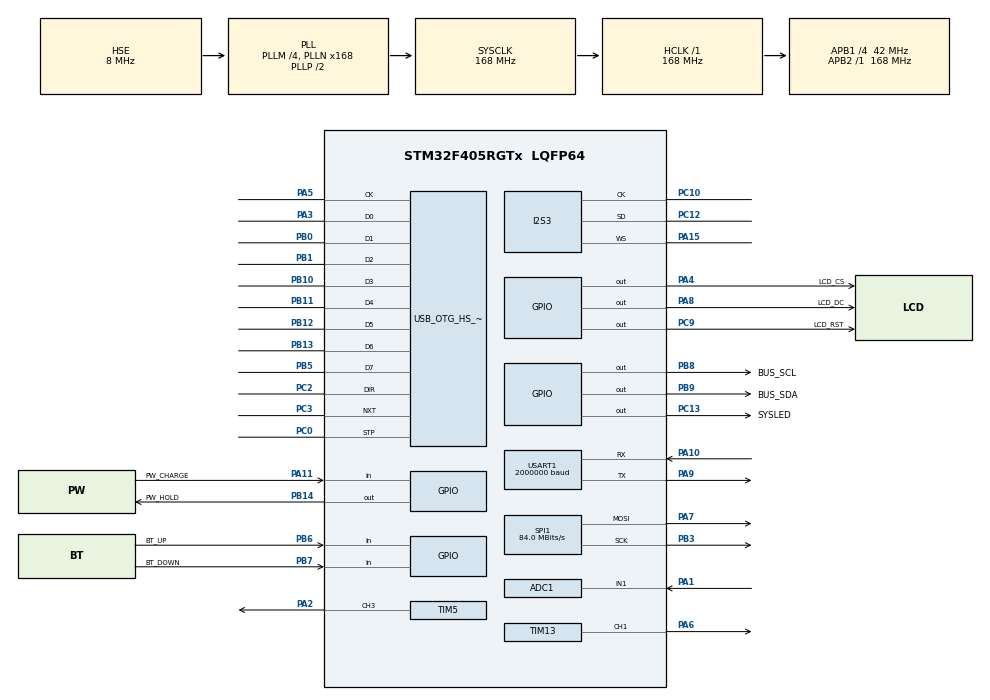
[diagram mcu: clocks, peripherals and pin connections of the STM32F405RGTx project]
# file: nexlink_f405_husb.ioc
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ADC1.Channel-0\#ChannelRegularConversion=ADC_CHANNEL_1
ADC1.ExternalTrigConv=ADC_SOFTWARE_START
ADC1.NbrOfConversionFlag=1
ADC1.Rank-0\#ChannelRegularConversion=1
ADC1.SamplingTime-0\#ChannelRegularConversion=ADC_SAMPLETIME_3CYCLES
ADC1.master=1
Dma.Request0=SPI1_TX
Dma.Request1=SPI3_RX
Dma.SPI1_TX.0.Direction=DMA_MEMORY_TO_PERIPH
Dma.SPI1_TX.0.FIFOMode=DMA_FIFOMODE_DISABLE
Dma.SPI1_TX.0.Instance=DMA2_Stream3
Dma.SPI1_TX.0.MemDataAlignment=DMA_MDATAALIGN_BYTE
Dma.SPI1_TX.0.MemInc=DMA_MINC_ENABLE
Dma.SPI1_TX.0.Mode=DMA_NORMAL
Dma.SPI1_TX.0.PeriphDataAlignment=DMA_PDATAALIGN_BYTE
Dma.SPI1_TX.0.PeriphInc=DMA_PINC_DISABLE
Dma.SPI1_TX.0.Priority=DMA_PRIORITY_LOW
Dma.SPI3_RX.1.Direction=DMA_PERIPH_TO_MEMORY
Dma.SPI3_RX.1.FIFOMode=DMA_FIFOMODE_DISABLE
Dma.SPI3_RX.1.Instance=DMA1_Stream0
Dma.SPI3_RX.1.MemDataAlignment=DMA_MDATAALIGN_WORD
Dma.SPI3_RX.1.MemInc=DMA_MINC_ENABLE
Dma.SPI3_RX.1.Mode=DMA_CIRCULAR
Dma.SPI3_RX.1.PeriphDataAlignment=DMA_PDATAALIGN_WORD
Dma.SPI3_RX.1.PeriphInc=DMA_PINC_DISABLE
Dma.SPI3_RX.1.Priority=DMA_PRIORITY_LOW
I2S3.AudioFreq=I2S_AUDIOFREQ_16K
I2S3.DataFormat=I2S_DATAFORMAT_24B
I2S3.ErrorAudioFreq=-0.26 %
I2S3.FullDuplexMode=I2S_FULLDUPLEXMODE_DISABLE
I2S3.Instance=SPI$Index
I2S3.Mode=I2S_MODE_MASTER_RX
I2S3.RealAudioFreq=15.957 KHz
I2S3.VirtualMode=I2S_MODE_MASTER
Mcu.Family=STM32F4
Mcu.Name=STM32F405RGTx
Mcu.Package=LQFP64
NVIC.DMA1_Stream0_IRQn=true\:0\:0\:false\:false\:true\:false\:true\:true
NVIC.DMA2_Stream3_IRQn=true\:0\:0\:false\:false\:true\:false\:true\:true
NVIC.OTG_HS_IRQn=true\:0\:0\:false\:false\:true\:false\:true\:true
NVIC.PriorityGroup=NVIC_PRIORITYGROUP_4
NVIC.TIM3_IRQn=true\:0\:0\:false\:false\:true\:true\:true\:true
NVIC.TIM6_DAC_IRQn=true\:15\:0\:false\:false\:true\:false\:true\:true
NVIC.TIM8_TRG_COM_TIM14_IRQn=true\:0\:0\:false\:false\:true\:true\:true\:true
NVIC.TimeBase=TIM6_DAC_IRQn
NVIC.TimeBaseIP=TIM6
PA1.Signal=ADCx_IN1
PA10.Mode=Asynchronous
PA10.Signal=USART1_RX
PA11.GPIO_Label=PW_CHARGE
PA11.GPIO_PuPd=GPIO_PULLUP
PA11.Signal=GPIO_Input
PA13.Mode=Serial_Wire
PA13.Signal=SYS_JTMS-SWDIO
PA14.Mode=Serial_Wire
PA14.Signal=SYS_JTCK-SWCLK
PA15.Mode=Half_Duplex_Master
PA15.Signal=I2S3_WS
PA2.Signal=S_TIM5_CH3
PA3.Mode=Device_HS
PA3.Signal=USB_OTG_HS_ULPI_D0
PA4.GPIO_Label=LCD_CS
PA4.GPIO_ModeDefaultOutputPP=GPIO_MODE_OUTPUT_PP
PA4.GPIO_PuPd=GPIO_PULLUP
PA4.GPIO_Speed=GPIO_SPEED_FREQ_VERY_HIGH
PA4.PinState=GPIO_PIN_SET
PA4.Signal=GPIO_Output
PA5.Mode=Device_HS
PA5.Signal=USB_OTG_HS_ULPI_CK
PA6.Signal=S_TIM13_CH1
PA7.Mode=TX_Only_Simplex_Unidirect_Master
PA7.Signal=SPI1_MOSI
PA8.GPIO_Label=LCD_DC
PA8.GPIO_ModeDefaultOutputPP=GPIO_MODE_OUTPUT_PP
PA8.GPIO_PuPd=GPIO_PULLUP
PA8.GPIO_Speed=GPIO_SPEED_FREQ_VERY_HIGH
PA8.PinState=GPIO_PIN_SET
PA8.Signal=GPIO_Output
PA9.Mode=Asynchronous
PA9.Signal=USART1_TX
PB0.Mode=Device_HS
PB0.Signal=USB_OTG_HS_ULPI_D1
PB1.Mode=Device_HS
PB1.Signal=USB_OTG_HS_ULPI_D2
PB10.Mode=Device_HS
PB10.Signal=USB_OTG_HS_ULPI_D3
PB11.Mode=Device_HS
PB11.Signal=USB_OTG_HS_ULPI_D4
PB12.Mode=Device_HS
PB12.Signal=USB_OTG_HS_ULPI_D5
PB13.Mode=Device_HS
PB13.Signal=USB_OTG_HS_ULPI_D6
PB14.GPIO_Label=PW_HOLD
PB14.GPIO_ModeDefaultOutputPP=GPIO_MODE_OUTPUT_PP
PB14.GPIO_PuPd=GPIO_PULLUP
PB14.GPIO_Speed=GPIO_SPEED_FREQ_LOW
PB14.PinState=GPIO_PIN_SET
PB14.Signal=GPIO_Output
PB3.Mode=TX_Only_Simplex_Unidirect_Master
PB3.Signal=SPI1_SCK
PB5.Mode=Device_HS
PB5.Signal=USB_OTG_HS_ULPI_D7
PB6.GPIO_Label=BT_UP
PB6.GPIO_PuPd=GPIO_PULLDOWN
PB6.Signal=GPIO_Input
PB7.GPIO_Label=BT_DOWN
PB7.GPIO_PuPd=GPIO_PULLDOWN
PB7.Signal=GPIO_Input
PB8.GPIO_Label=BUS_SCL
PB8.Signal=GPIO_Output
PB9.GPIO_Label=BUS_SDA
PB9.Signal=GPIO_Output
PC0.Mode=Device_HS
PC0.Signal=USB_OTG_HS_ULPI_STP
PC10.Mode=Half_Duplex_Master
PC10.Signal=I2S3_CK
PC12.Mode=Half_Duplex_Master
PC12.Signal=I2S3_SD
PC13-ANTI_TAMP.GPIO_Label=SYSLED
PC13-ANTI_TAMP.GPIO_ModeDefaultOutputPP=GPIO_MODE_OUTPUT_PP
PC13-ANTI_TAMP.GPIO_PuPd=GPIO_PULLUP
PC13-ANTI_TAMP.GPIO_Speed=GPIO_SPEED_FREQ_LOW
PC13-ANTI_TAMP.PinState=GPIO_PIN_RESET
PC13-ANTI_TAMP.Signal=GPIO_Output
PC14-OSC32_IN.Mode=LSE-External-Oscillator
PC14-OSC32_IN.Signal=RCC_OSC32_IN
PC15-OSC32_OUT.Mode=LSE-External-Oscillator
PC15-OSC32_OUT.Signal=RCC_OSC32_OUT
PC2.Mode=Device_HS
PC2.Signal=USB_OTG_HS_ULPI_DIR
PC3.Mode=Device_HS
PC3.Signal=USB_OTG_HS_ULPI_NXT
PC9.GPIO_Label=LCD_RST
PC9.GPIO_PuPd=GPIO_PULLUP
PC9.GPIO_Speed=GPIO_SPEED_FREQ_VERY_HIGH
PC9.PinState=GPIO_PIN_SET
PC9.Signal=GPIO_Output
PH0-OSC_IN.Mode=HSE-External-Oscillator
PH0-OSC_IN.Signal=RCC_OSC_IN
PH1-OSC_OUT.Mode=HSE-External-Oscillator
PH1-OSC_OUT.Signal=RCC_OSC_OUT
ProjectManager.HeapSize=0x800
ProjectManager.StackSize=0x1000
ProjectManager.TargetToolchain=MDK-ARM V5.32
RCC.48MHZClocksFreq_Value=48000000
RCC.AHBFreq_Value=168000000
RCC.APB1CLKDivider=RCC_HCLK_DIV4
RCC.APB1Freq_Value=42000000
RCC.APB1TimFreq_Value=84000000
RCC.APB2Freq_Value=168000000
RCC.APB2TimFreq_Value=168000000
RCC.CortexFreq_Value=168000000
RCC.HCLKFreq_Value=168000000
RCC.HSE_VALUE=8000000
RCC.HSI_VALUE=16000000
RCC.PLLM=4
RCC.PLLN=168
RCC.PLLQ=7
RCC.PLLSourceVirtual=RCC_PLLSOURCE_HSE
RCC.SYSCLKFreq_VALUE=168000000
RCC.SYSCLKSource=RCC_SYSCLKSOURCE_PLLCLK
RCC.VCOOutputFreq_Value=336000000
SH.ADCx_IN1.0=ADC1_IN1,IN1
SH.S_TIM13_CH1.0=TIM13_CH1,PWM Generation1 CH1
SH.S_TIM5_CH3.0=TIM5_CH3,PWM Generation3 CH3
SPI1.BaudRatePrescaler=SPI_BAUDRATEPRESCALER_2
SPI1.CalculateBaudRate=84.0 MBits/s
SPI1.Direction=SPI_DIRECTION_2LINES
SPI1.Mode=SPI_MODE_MASTER
SPI1.VirtualType=VM_MASTER
TIM13.Channel=TIM_CHANNEL_1
TIM13.OCPolarity_1=TIM_OCPOLARITY_HIGH
TIM13.Period=1000-1
TIM13.Prescaler=84-1
TIM13.Pulse=0
TIM14.Period=9999
TIM14.Prescaler=8399
TIM3.Period=999
TIM3.Prescaler=84-1
TIM5.Channel-PWM\ Generation3\ CH3=TIM_CHANNEL_3
TIM5.Period=1000-1
TIM5.Prescaler=83
TIM5.Pulse-PWM\ Generation3\ CH3=500
USART1.BaudRate=2000000
USART1.VirtualMode=VM_ASYNC
USB_DEVICE.CLASS_NAME_HS=CDC
USB_DEVICE.VirtualMode-CDC_HS=Cdc
USB_DEVICE.VirtualModeHS=Cdc_HS
USB_OTG_HS.VirtualMode-Device_HS=Device_HS
VP_CRC_VS_CRC.Mode=CRC_Activate
VP_IWDG_VS_IWDG.Mode=IWDG_Activate
VP_RNG_VS_RNG.Mode=RNG_Activate
VP_SYS_VS_tim6.Mode=TIM6
VP_TIM13_VS_ClockSourceINT.Mode=Enable_Timer
VP_TIM14_VS_ClockSourceINT.Mode=Enable_Timer
VP_TIM3_VS_ClockSourceINT.Mode=Internal
VP_TIM5_VS_ClockSourceINT.Mode=Internal
VP_USB_DEVICE_VS_USB_DEVICE_CDC_HS.Mode=CDC_HS
board=custom

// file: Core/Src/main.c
/* USER CODE BEGIN Header */
/**
  ******************************************************************************
  * @file           : main.c
  * @brief          : Main program body
  ******************************************************************************
  * @attention
  *
  * Copyright (c) 2024 STMicroelectronics.
  * All rights reserved.
  *
  * This software is licensed under terms that can be found in the LICENSE file
  * in the root directory of this software component.
  * If no LICENSE file comes with this software, it is provided AS-IS.
  *
  ******************************************************************************
  */
/* USER CODE END Header */
#include "main.h"
#include "adc.h"
#include "crc.h"
#include "dma.h"
#include "i2s.h"
#include "iwdg.h"
#include "rng.h"
#include "spi.h"
#include "tim.h"
#include "usart.h"
#include "usb_device.h"
#include "gpio.h"

/* USER CODE BEGIN Includes */
#include <stdarg.h>
#include "usbd_def.h"
#include "usbd_desc.h"
#include "usbd_core.h"
#include "usbd_nex_link.h"
#include "nexlink_tx.h"
#include "nexlink_app.h"
#include "nexlink_usb_if.h"
#include "stdio.h"
#include "nv3030b.h"
#include "lv_anim_light.h"
#include "easy_ui.h"
#include "easy_ui_user_app.h"
#include "easy_key.h"
#include "mpu6050.h"
#include "inv_mpu.h"
#include "inv_mpu_dmp_motion_driver.h"
#include "bmp280.h"
#include "rx8900.h"
#include "usbd_cdc.h"
#include "usbd_cdc_if.h"
//#include "arm_math.h"
//#include "chipmunkdemo.h"
/* USER CODE END Includes */

/* USER CODE BEGIN PD */
/* Custom NEX_LINK protocol commands for husb hardware */
#define CMD_HUSB_TIMESTAMP_SET   (CMD_USER_BASE + 1)
#define CMD_HUSB_TIMESTAMP_GET   (CMD_USER_BASE + 2)
#define CMD_HUSB_BRIGHTNESS_SET  (CMD_USER_BASE + 3)
#define CMD_HUSB_BRIGHTNESS_GET  (CMD_USER_BASE + 4)
#define CMD_HUSB_PICTURE_SET     (CMD_USER_BASE + 5)
#define CMD_HUSB_SCREEN_GET      (CMD_USER_BASE + 6)
#define CMD_HUSB_NAME_GET        (CMD_USER_BASE + 7)
#define CMD_HUSB_VERSION_GET     (CMD_USER_BASE + 8)
/* USER CODE END PD */

/* USER CODE BEGIN PV */
USBD_HandleTypeDef hUSB;
volatile bool battery_check_pending;

/* USER CODE END PV */

void SystemClock_Config(void);

/* USER CODE BEGIN 0 */
//int fputc(int ch, FILE* f)
//{
//  HAL_UART_Transmit(&huart1, (uint8_t*)&ch, 1, HAL_MAX_DELAY);
//  return ch;
//}

uint8_t debug_buf[DEBUG_BUF_SIZE] = {0};
int usb_printf(const char* pcFormat, ...)
{
  va_list args;
  int len = 0;
  memset(debug_buf, 0, sizeof debug_buf);
  va_start(args, pcFormat);

  len = vsnprintf((char*)debug_buf, sizeof(debug_buf), pcFormat, args);
  send_event(EVT_LOG, debug_buf, (uint16_t)len);
  va_end(args);

  return len;
}

nex_usb_des des = {
.brides = {
	.brightness = 300,
	.damp = 500
},
.scrdes = {
	.width = LCD_W,
	.height = LCD_H
}
};
lv_anim_t anim_backlight;
void set_brightness_value(void *obj, int32_t value)
{
	// dbmsg("brightness: %d", value);
	Set_PWM_DutyCycle(value%1000);
}

void ready_brightness_value(struct _lv_anim_t *obj)
{
	dbmsg("brightness: %d/1000", ((lv_anim_t*)obj)->end_value);
	if(((lv_anim_t*)obj)->end_value == 0)
	{
			dbusbmsg("system shutdown");
			HAL_GPIO_WritePin(PW_HOLD_GPIO_Port, PW_HOLD_Pin, GPIO_PIN_RESET);
	}
}

//void HAL_TIM_PeriodElapsedCallback(TIM_HandleTypeDef *htim)
//{
//}

lv_anim_t anim_beep;
void set_beep_value(void *obj, int32_t value)
{
	Set_Freqeucy_Cycle(value);
}

void ready_beep_value(struct _lv_anim_t *obj)
{
	if(((lv_anim_t*)obj)->end_value != 0)
	{
			dbusbmsg("beep");
			lv_anim_start(&anim_beep, 0, 100);
	}
}

const char HUSB_NAME_STR[] = "NexLinker";
const char HUSB_VERSION_STR[] = "V1.01";

/* Handle custom commands from the PC host over the NEX_LINK protocol */
void external_handle_cmd(nl_packet_t *pkt)
{
    switch (pkt->cmd)
    {
    case CMD_HUSB_TIMESTAMP_SET:
    {
        if (pkt->length >= sizeof(uint64_t))
        {
            uint64_t timestamp_s;
            memcpy(&timestamp_s, pkt->payload, sizeof(uint64_t));
            struct tm *tm_local = localtime((const time_t *)&timestamp_s);
            if (tm_local)
            {
                RX8900_SetTime(tm_local);
            }
        }
        send_resp_ok(pkt->cmd, pkt->seq, NULL, 0);
        break;
    }
    case CMD_HUSB_TIMESTAMP_GET:
    {
        send_resp_ok(pkt->cmd, pkt->seq, &des.timestamp_s, sizeof(des.timestamp_s));
        break;
    }
    case CMD_HUSB_BRIGHTNESS_SET:
    {
        if (pkt->length >= sizeof(nex_brightness_des))
        {
            memcpy(&des.brides, pkt->payload, sizeof(nex_brightness_des));
            lv_anim_start(&anim_backlight, des.brides.brightness, des.brides.damp);
        }
        send_resp_ok(pkt->cmd, pkt->seq, NULL, 0);
        break;
    }
    case CMD_HUSB_BRIGHTNESS_GET:
    {
        send_resp_ok(pkt->cmd, pkt->seq, &des.brides, sizeof(des.brides));
        break;
    }
    case CMD_HUSB_PICTURE_SET:
    {
        if (pkt->length >= sizeof(nex_picture_des))
        {
            nex_picture_des picdes;
            memcpy(&picdes, pkt->payload, sizeof(nex_picture_des));
            NV3030B_SetRotation((nv3030b_dir_enum)picdes.direction);
            NV3030B_SetRegion(picdes.startx, picdes.starty,
                              picdes.startx + picdes.picw - 1,
                              picdes.starty + picdes.pich - 1);
            HAL_GPIO_TogglePin(SYSLED_GPIO_Port, SYSLED_Pin);
        }
        send_resp_ok(pkt->cmd, pkt->seq, NULL, 0);
        break;
    }
    case CMD_HUSB_SCREEN_GET:
    {
        send_resp_ok(pkt->cmd, pkt->seq, &des.scrdes, sizeof(des.scrdes));
        break;
    }
    case CMD_HUSB_NAME_GET:
    {
        send_resp_ok(pkt->cmd, pkt->seq, HUSB_NAME_STR, sizeof(HUSB_NAME_STR));
        break;
    }
    case CMD_HUSB_VERSION_GET:
    {
        send_resp_ok(pkt->cmd, pkt->seq, HUSB_VERSION_STR, sizeof(HUSB_VERSION_STR));
        break;
    }
    default:
        send_resp_err(pkt->cmd, pkt->seq, NL_ERR_UNSUPPORTED);
        break;
    }
}

void MX_USB_DEVICE_Init()
{
  USBD_Init(&hUSB, &FS_Desc, DEVICE_HS);
  USBD_CDC_RegisterInterface(&hUSB, &USBD_Interface_fops_HS);
  USBD_RegisterClassComposite(&hUSB, &USBD_CDC, CLASS_TYPE_CDC, NULL);
  USBD_RegisterClassComposite(&hUSB, &USBD_NEX_LINK, CLASS_TYPE_NONE, NULL);
  USBD_Start(&hUSB);
}
/* USER CODE END 0 */

int main(void)
{

  /* USER CODE BEGIN 1 */
    __enable_irq();
  /* USER CODE END 1 */

  /* MCU Configuration--------------------------------------------------------*/

  /* Reset of all peripherals, Initializes the Flash interface and the Systick. */
  HAL_Init();

  /* Configure the system clock */
  SystemClock_Config();

  /* Initialize all configured peripherals */
  MX_GPIO_Init();
  MX_DMA_Init();
  MX_USART1_UART_Init();
  MX_SPI1_Init();
  MX_TIM13_Init();
  MX_CRC_Init();
  MX_RNG_Init();
  MX_TIM3_Init();
  MX_I2S3_Init();
  MX_ADC1_Init();
  MX_TIM14_Init();
  MX_TIM5_Init();
  /* USER CODE BEGIN 2 */
	MenuInit();
  dbmsg("system initialized");

	set_brightness_value(NULL, 0);
	MX_USB_DEVICE_Init();
  HAL_TIM_PWM_Start(&htim13, TIM_CHANNEL_1);
  HAL_TIM_PWM_Start(&htim5, TIM_CHANNEL_3);
	HAL_TIM_Base_Start_IT(&htim3);
	HAL_TIM_Base_Start_IT(&htim14);
	RX8900_Init();
	EasyUIInit(1);
	dbmsg("MPU_Init = %d", MPU_Init());
//	dbmsg("mpu_init = %d", mpu_init());
	BMP280_Init();
	lv_anim_add(&anim_backlight, 0, set_brightness_value);
	lv_anim_ready_set_cb(&anim_backlight, ready_brightness_value);

	lv_anim_add(&anim_beep, 0, set_beep_value);
	lv_anim_path_set_cb(&anim_beep, lv_anim_path_onoff);
	lv_anim_ready_set_cb(&anim_beep, ready_beep_value);
  dbmsg("application initialized and ready to receive user input, poised to execute operations seamlessly!\nbrightness: %d", des.brides.brightness);
	lv_anim_start(&anim_backlight, des.brides.brightness, des.brides.damp);

  MX_IWDG_Init();

	HAL_Delay(200);
  /* USER CODE END 2 */

  /* Infinite loop */
  while(1)
  {

    /* USER CODE BEGIN 3 */
		/* Hand queued NEX_LINK frames to the USB stack as it becomes free */
		nexlink_tx_poll();

		/* Process NEX_LINK RX data from USB */

//		EventJump();
		lv_anim_run();
//		EasyUIEvent(5);
//		extern __IO bool usb_stream_active;
//		if (!usb_stream_active)
//			upload_frame_upload();
//		MPU_CRL(10);
//		extern bool mpu_debug_en;
//		if(mpu_debug_en)
//			MPU_Test(1000);
		HAL_IWDG_Refresh(&hiwdg);

//		/* Battery check (triggered from TIM14 interrupt) */
//		if (battery_check_pending)
//		{
//			battery_check_pending = false;
//			lowBatteryAction();
//		}
//		BMP280_Test(1000);
//		RX8900_Test(1000);
//		HAL_Delay(1);
  }
  /* USER CODE END 3 */
}

void SystemClock_Config(void)
{
  RCC_OscInitTypeDef RCC_OscInitStruct = {0};
  RCC_ClkInitTypeDef RCC_ClkInitStruct = {0};

  /** Configure the main internal regulator output voltage
  */
  __HAL_RCC_PWR_CLK_ENABLE();
  __HAL_PWR_VOLTAGESCALING_CONFIG(PWR_REGULATOR_VOLTAGE_SCALE1);

  /** Initializes the RCC Oscillators according to the specified parameters
  * in the RCC_OscInitTypeDef structure.
  */
  RCC_OscInitStruct.OscillatorType = RCC_OSCILLATORTYPE_LSI|RCC_OSCILLATORTYPE_HSE;
  RCC_OscInitStruct.HSEState = RCC_HSE_ON;
  RCC_OscInitStruct.LSIState = RCC_LSI_ON;
  RCC_OscInitStruct.PLL.PLLState = RCC_PLL_ON;
  RCC_OscInitStruct.PLL.PLLSource = RCC_PLLSOURCE_HSE;
  RCC_OscInitStruct.PLL.PLLM = 4;
  RCC_OscInitStruct.PLL.PLLN = 168;
  RCC_OscInitStruct.PLL.PLLP = RCC_PLLP_DIV2;
  RCC_OscInitStruct.PLL.PLLQ = 7;
  if (HAL_RCC_OscConfig(&RCC_OscInitStruct) != HAL_OK)
  {
    Error_Handler();
  }

  /** Initializes the CPU, AHB and APB buses clocks
  */
  RCC_ClkInitStruct.ClockType = RCC_CLOCKTYPE_HCLK|RCC_CLOCKTYPE_SYSCLK
                              |RCC_CLOCKTYPE_PCLK1|RCC_CLOCKTYPE_PCLK2;
  RCC_ClkInitStruct.SYSCLKSource = RCC_SYSCLKSOURCE_PLLCLK;
  RCC_ClkInitStruct.AHBCLKDivider = RCC_SYSCLK_DIV1;
  RCC_ClkInitStruct.APB1CLKDivider = RCC_HCLK_DIV4;
  RCC_ClkInitStruct.APB2CLKDivider = RCC_HCLK_DIV1;

  if (HAL_RCC_ClockConfig(&RCC_ClkInitStruct, FLASH_LATENCY_5) != HAL_OK)
  {
    Error_Handler();
  }
}

/* USER CODE BEGIN 4 */
void HAL_I2S_RxCpltCallback(I2S_HandleTypeDef *hi2s)
{
	if(hi2s==&hi2s3){
//		for (int i = 0;i < 256; i++)
//		{
// 			fft_input_buffer[i] =(adc_buffer[0+i*4]<<8)+(adc_buffer[1+i*4]>>8);
//
//			if(fft_input_buffer[i] & 0x800000){//negative
//					fft_input_buffer[i]|=0xff000000;
//			}
//		}
	}
}
#define BOOTLOADER_ADDRESS 0x08000000  // BootLoader在Flash中的起始地址

typedef void (*pFunction)(void);
pFunction JumpAddress;

void JumpToBootloader (void) //异常开始
{
    // 关中断
    __disable_irq();

    // 设置中断向量表地址为BootLoader的地址
    SCB->VTOR = BOOTLOADER_ADDRESS;

    // 取得BootLoader地址的函数指针
    JumpAddress = (pFunction)*(volatile uint32_t*)(BOOTLOADER_ADDRESS + 4);

    // 跳转到BootLoader
    JumpAddress();
}
/* USER CODE END 4 */

void HAL_TIM_PeriodElapsedCallback(TIM_HandleTypeDef *htim)
{
  if (htim->Instance == TIM6)
  {
    HAL_IncTick();
  }
  /* USER CODE BEGIN Callback 1 */

	if (htim->Instance == htim3.Instance)
	{
		EasyKeyScanKeyState();
		EasyKeyUserApp();
		EasyUIKeyActionMonitor();
//		dbmsg("tick: %d", HAL_GetTick());
	}
	if (htim->Instance == htim14.Instance)
	{
		extern volatile bool battery_check_pending;
		battery_check_pending = true;
	}
  /* USER CODE END Callback 1 */
}

void Error_Handler(void)
{
  /* USER CODE BEGIN Error_Handler_Debug */
  /* User can add his own implementation to report the HAL error return state */
  __disable_irq();
	HAL_GPIO_WritePin(PW_HOLD_GPIO_Port, PW_HOLD_Pin, GPIO_PIN_RESET); //cut the power

  while(1)
  {
  }
  /* USER CODE END Error_Handler_Debug */
}
